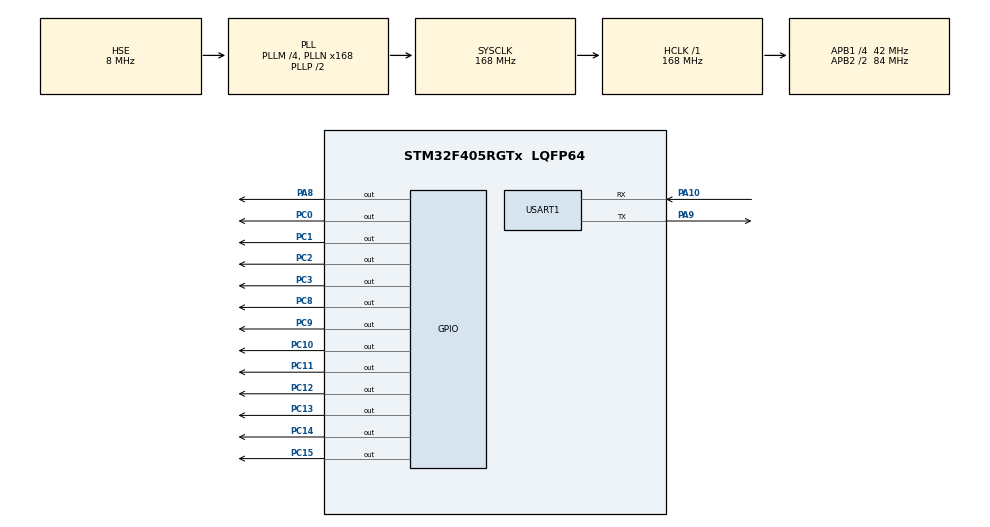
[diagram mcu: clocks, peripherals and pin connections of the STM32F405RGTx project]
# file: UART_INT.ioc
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Mcu.Family=STM32F4
RCC.PLLSourceVirtual=RCC_PLLSOURCE_HSE
PH0-OSC_IN.Signal=RCC_OSC_IN
RCC.CortexFreq_Value=168000000
PA10.Mode=Asynchronous
PC10.Signal=GPIO_Output
PC11.Signal=GPIO_Output
PC12.Signal=GPIO_Output
PC8.Signal=GPIO_Output
PC2.Signal=GPIO_Output
PC0.Signal=GPIO_Output
RCC.APB1CLKDivider=RCC_HCLK_DIV4
PC14-OSC32_IN.Signal=GPIO_Output
RCC.SYSCLKSource=RCC_SYSCLKSOURCE_PLLCLK
ProjectManager.StackSize=0x400
PA13.Signal=SYS_JTMS-SWDIO
PA9.Mode=Asynchronous
ProjectManager.TargetToolchain=EWARM V8.32
RCC.HCLKFreq_Value=168000000
RCC.APB2TimFreq_Value=168000000
PA9.Signal=USART1_TX
PC3.Signal=GPIO_Output
RCC.LSE_VALUE=32768
PC15-OSC32_OUT.Signal=GPIO_Output
RCC.AHBFreq_Value=168000000
PH0-OSC_IN.Mode=HSE-External-Oscillator
RCC.HSE_VALUE=8000000
board=custom
PC13-ANTI_TAMP.Signal=GPIO_Output
RCC.VCOOutputFreq_Value=336000000
RCC.APB2Freq_Value=84000000
PA14.Mode=Serial_Wire
PH1-OSC_OUT.Signal=RCC_OSC_OUT
PA8.Signal=GPIO_Output
PA13.Mode=Serial_Wire
Mcu.Name=STM32F405RGTx
PH1-OSC_OUT.Mode=HSE-External-Oscillator
RCC.48MHZClocksFreq_Value=84000000
RCC.SYSCLKFreq_VALUE=168000000
Mcu.Package=LQFP64
USART1.VirtualMode=VM_ASYNC
PA10.Signal=USART1_RX
PA14.Signal=SYS_JTCK-SWCLK
ProjectManager.HeapSize=0x200
RCC.HSI_VALUE=16000000
NVIC.PriorityGroup=NVIC_PRIORITYGROUP_4
RCC.APB2CLKDivider=RCC_HCLK_DIV2
RCC.PLLM=4
RCC.PLLN=168
RCC.APB1TimFreq_Value=84000000
PC9.Signal=GPIO_Output
NVIC.USART1_IRQn=true\:0\:0\:false\:false\:true\:true\:true
RCC.APB1Freq_Value=42000000
PC1.Signal=GPIO_Output

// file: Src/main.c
/* USER CODE BEGIN Header */
/**
  ******************************************************************************
  * @file           : main.c
  * @brief          : Main program body
  ******************************************************************************
  * @attention
  *
  * <h2><center>&copy; Copyright (c) 2020 STMicroelectronics.
  * All rights reserved.</center></h2>
  *
  * This software component is licensed by ST under BSD 3-Clause license,
  * the "License"; You may not use this file except in compliance with the
  * License. You may obtain a copy of the License at:
  *                        opensource.org/licenses/BSD-3-Clause
  *
  ******************************************************************************
  */
/* USER CODE END Header */

#include "main.h"
#include "usart.h"
#include "gpio.h"

/* USER CODE BEGIN PV */
uint8_t rxData;
uint8_t key;
unsigned char LED_STOP=1;
unsigned char FND_STOP=1;
/* USER CODE END PV */

void SystemClock_Config(void);

int main(void)
{
  /* USER CODE BEGIN 1 */
  unsigned int FND_DATA_TBL[] = {0x3F00, 0x0600, 0x5B00, 0x4F00, 0x6600, 0x6D00,
                                                      0x7C00, 0x0700, 0x7F00, 0x6700, 0x7700, 0x7C00,
                                                      0x3900, 0x5E00, 0x7900, 0x7100, 0x0800, 0x8000};
  unsigned char cnt = 0;
  /* USER CODE END 1 */

  /* MCU Configuration--------------------------------------------------------*/

  /* Reset of all peripherals, Initializes the Flash interface and the Systick. */
  HAL_Init();

  /* Configure the system clock */
  SystemClock_Config();

  /* Initialize all configured peripherals */
  MX_GPIO_Init();
  MX_USART1_UART_Init();
  /* USER CODE BEGIN 2 */
  HAL_UART_Receive_IT(&huart1, &rxData, 1); // main에서 인터럽트를 한번 실행(open) 해줘야 동작함
  /* USER CODE END 2 */

  /* Infinite loop */
  /* USER CODE BEGIN WHILE */
  while (1)
  {
    if(LED_STOP) HAL_GPIO_WritePin(GPIOC, 0x000F, GPIO_PIN_RESET);
    else HAL_GPIO_WritePin(GPIOC, 0x000F, GPIO_PIN_SET);

    if(FND_STOP)
    {
        HAL_GPIO_WritePin(GPIOC, 0xFF00, GPIO_PIN_RESET);
    }
    else
    {
        HAL_GPIO_WritePin(GPIOC, 0xFF00, GPIO_PIN_RESET);
        HAL_GPIO_WritePin(GPIOC, FND_DATA_TBL[cnt], GPIO_PIN_SET);
        cnt++;
        if(cnt>17) cnt=0;
        HAL_Delay(1000);
    }
    /* USER CODE END WHILE */

  }
}

void SystemClock_Config(void)
{
  RCC_OscInitTypeDef RCC_OscInitStruct = {0};
  RCC_ClkInitTypeDef RCC_ClkInitStruct = {0};

  /** Configure the main internal regulator output voltage
  */
  __HAL_RCC_PWR_CLK_ENABLE();
  __HAL_PWR_VOLTAGESCALING_CONFIG(PWR_REGULATOR_VOLTAGE_SCALE1);
  /** Initializes the CPU, AHB and APB busses clocks
  */
  RCC_OscInitStruct.OscillatorType = RCC_OSCILLATORTYPE_HSE;
  RCC_OscInitStruct.HSEState = RCC_HSE_ON;
  RCC_OscInitStruct.PLL.PLLState = RCC_PLL_ON;
  RCC_OscInitStruct.PLL.PLLSource = RCC_PLLSOURCE_HSE;
  RCC_OscInitStruct.PLL.PLLM = 4;
  RCC_OscInitStruct.PLL.PLLN = 168;
  RCC_OscInitStruct.PLL.PLLP = RCC_PLLP_DIV2;
  RCC_OscInitStruct.PLL.PLLQ = 4;
  if (HAL_RCC_OscConfig(&RCC_OscInitStruct) != HAL_OK)
  {
    Error_Handler();
  }
  /** Initializes the CPU, AHB and APB busses clocks
  */
  RCC_ClkInitStruct.ClockType = RCC_CLOCKTYPE_HCLK|RCC_CLOCKTYPE_SYSCLK
                              |RCC_CLOCKTYPE_PCLK1|RCC_CLOCKTYPE_PCLK2;
  RCC_ClkInitStruct.SYSCLKSource = RCC_SYSCLKSOURCE_PLLCLK;
  RCC_ClkInitStruct.AHBCLKDivider = RCC_SYSCLK_DIV1;
  RCC_ClkInitStruct.APB1CLKDivider = RCC_HCLK_DIV4;
  RCC_ClkInitStruct.APB2CLKDivider = RCC_HCLK_DIV2;

  if (HAL_RCC_ClockConfig(&RCC_ClkInitStruct, FLASH_LATENCY_5) != HAL_OK)
  {
    Error_Handler();
  }
}

/* USER CODE BEGIN 4 */
void HAL_UART_RxCpltCallback(UART_HandleTypeDef *huart)
{
  if(huart->Instance == USART1)
  {
    HAL_UART_Receive_IT(&huart1, &rxData, 1);
    HAL_UART_Transmit(&huart1, &rxData, 1, 10);

    if(rxData == '1') LED_STOP=0;
    else if(rxData == '2') LED_STOP=1;
    else if(rxData == '3') FND_STOP=0;
    else if(rxData == '4') FND_STOP=1;

    key = rxData; // 너무 빨라서 이런식으로 키값 저장해두고 비교하는게 좋다
  }
}
/* USER CODE END 4 */

void Error_Handler(void)
{
}

/************************ (C) COPYRIGHT STMicroelectronics *****END OF FILE****/
